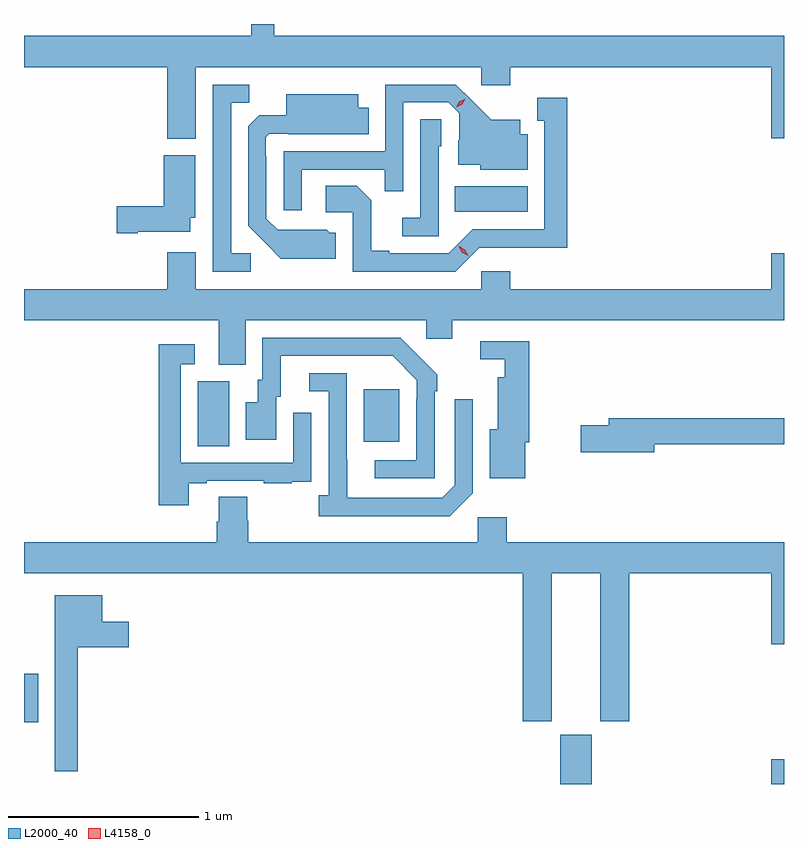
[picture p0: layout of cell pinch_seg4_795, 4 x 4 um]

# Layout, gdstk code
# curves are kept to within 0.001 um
import gdstk
lib = gdstk.Library(unit=1e-6, precision=1e-09)
def R(c, l, rs):  # rectangles x0, y0, x1, y1
    for r in rs: c.add(gdstk.rectangle(r[:2], r[2:], *l))
def P(c, l, *ps):  # polygons
    for p in ps: c.add(gdstk.Polygon(p, *l))
L2000_40 = (2000, 40)
L4158_0 = (4158, 0)

pinch_seg4_795 = lib.new_cell('pinch_seg4_795')
R(pinch_seg4_795, L2000_40, [(799.262,819.687,799.426,819.945), (800.372,819.687,800.439,819.817), (796.439,820.013,796.513,820.267), (797.354,821.464,797.518,821.808), (798.227,821.489,798.415,821.764), (798.706,822.698,799.09,822.832)])
P(pinch_seg4_795, L2000_40, [(797.344,823.46),(798.846,823.46),(798.846,823.365),(798.998,823.365),(798.998,823.46),(800.372,823.46),(800.372,823.086),(800.439,823.086),(800.439,823.624),(797.755,823.624),(797.755,823.687),(797.634,823.687),(797.634,823.624),(796.439,823.624),(796.439,823.46),(797.192,823.46),(797.192,823.082),(797.344,823.082)],
  [(797.901,822.921),(798.337,822.921),(798.337,822.808),(798.435,822.808),(798.435,823.275),(798.672,823.275),(798.729,823.218),(798.729,823.076),(798.725,823.076),(798.725,822.947),(798.84,822.947),(798.84,822.92),(799.09,822.92),(799.09,823.107),(799.051,823.107),(799.051,823.183),(798.899,823.183),(798.712,823.368),(798.339,823.368),(798.339,823.017),(797.805,823.017),(797.805,822.708),(797.901,822.708)],
  [(797.632,822.48),(797.529,822.48),(797.529,823.273),(797.625,823.273),(797.625,823.368),(797.433,823.368),(797.433,822.384),(797.632,822.384)],
  [(798.079,822.588),(798.048,822.588),(798.032,822.604),(797.775,822.603),(797.715,822.663),(797.715,822.992),(797.712,822.992),(797.712,823.092),(797.73,823.11),(797.83,823.11),(797.83,823.106),(798.254,823.106),(798.254,823.246),(798.199,823.246),(798.199,823.318),(797.819,823.318),(797.819,823.207),(797.678,823.207),(797.619,823.148),(797.619,822.626),(797.791,822.452),(798.079,822.452)],
  [(798.834,822.51),(799.297,822.509),(799.297,823.3),(799.139,823.3),(799.139,823.179),(799.178,823.179),(799.178,822.606),(798.801,822.606),(798.675,822.48),(798.361,822.48),(798.361,822.493),(798.267,822.493),(798.267,822.76),(798.191,822.836),(798.027,822.836),(798.027,822.696),(798.168,822.696),(798.168,822.384),(798.708,822.384)],
  [(798.621,823.044),(798.636,823.044),(798.636,823.187),(798.525,823.187),(798.525,822.667),(798.429,822.667),(798.429,822.57),(798.621,822.57)],
  [(797.038,822.593),(797.314,822.593),(797.314,822.666),(797.341,822.666),(797.341,822.997),(797.174,822.997),(797.174,822.728),(796.926,822.728),(796.926,822.586),(797.038,822.586)],
  [(797.605,822.128),(798.555,822.128),(798.555,822.03),(798.694,822.03),(798.694,822.128),(800.439,822.128),(800.439,822.481),(800.372,822.481),(800.372,822.292),(798.998,822.292),(798.998,822.385),(798.846,822.385),(798.846,822.292),(797.344,822.292),(797.344,822.487),(797.192,822.487),(797.192,822.292),(796.439,822.292),(796.439,822.128),(797.465,822.128),(797.465,821.893),(797.605,821.893)],
  [(798.6,821.753),(798.615,821.753),(798.615,821.841),(798.418,822.036),(797.694,822.036),(797.694,821.814),(797.669,821.814),(797.669,821.695),(797.606,821.695),(797.606,821.499),(797.767,821.499),(797.767,821.724),(797.791,821.724),(797.791,821.94),(798.379,821.94),(798.507,821.811),(798.507,821.711),(798.504,821.711),(798.504,821.391),(798.285,821.391),(798.285,821.295),(798.6,821.295)],
  [(799.078,821.487),(799.098,821.487),(799.098,821.723),(799.097,821.723),(799.097,822.018),(798.84,822.018),(798.84,821.922),(798.969,821.922),(798.969,821.827),(798.932,821.827),(798.932,821.554),(798.89,821.554),(798.89,821.297),(799.078,821.297)],
  [(797.305,821.271),(797.401,821.271),(797.401,821.283),(797.701,821.283),(797.701,821.271),(797.849,821.271),(797.849,821.277),(797.951,821.277),(797.951,821.386),(797.952,821.386),(797.952,821.641),(797.856,821.641),(797.856,821.379),(797.265,821.379),(797.265,821.895),(797.338,821.895),(797.338,822.001),(797.149,822.001),(797.149,821.154),(797.305,821.154)],
  [(798.801,821.217),(798.801,821.713),(798.705,821.713),(798.705,821.259),(798.639,821.193),(798.139,821.193),(798.138,821.85),(797.94,821.85),(797.94,821.754),(798.042,821.754),(798.042,821.206),(797.991,821.206),(797.991,821.096),(798.68,821.096)],
  [(799.756,821.476),(800.439,821.476),(800.439,821.612),(799.517,821.612),(799.517,821.576),(799.368,821.576),(799.368,821.434),(799.756,821.434)],
  [(799.216,820.796),(799.472,820.796),(799.472,820.017),(799.625,820.017),(799.625,820.796),(800.372,820.796),(800.372,820.422),(800.439,820.422),(800.439,820.96),(798.98,820.96),(798.98,821.092),(798.828,821.092),(798.828,820.96),(797.618,820.96),(797.618,821.073),(797.613,821.073),(797.613,821.198),(797.465,821.198),(797.465,821.066),(797.453,821.066),(797.453,820.96),(796.439,820.96),(796.439,820.796),(799.064,820.796),(799.064,820.017),(799.216,820.017)],
  [(796.723,820.406),(796.99,820.406),(796.99,820.54),(796.852,820.54),(796.852,820.681),(796.601,820.681),(796.601,819.753),(796.723,819.753)])
P(pinch_seg4_795, L4158_0, [(798.713,823.25),(798.713,823.25),(798.731,823.279),(798.762,823.294),(798.762,823.294),(798.762,823.294),(798.745,823.265),(798.714,823.25)],
  [(798.776,822.467),(798.744,822.486),(798.727,822.519),(798.727,822.519),(798.727,822.519),(798.759,822.5),(798.776,822.467),(798.776,822.467)])

lib.write_gds('pinch_seg4_795.gds')
